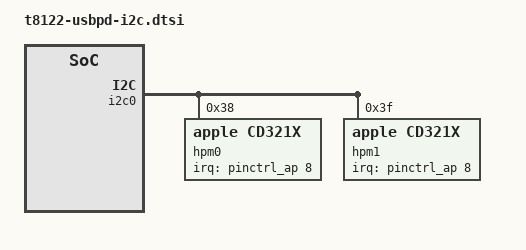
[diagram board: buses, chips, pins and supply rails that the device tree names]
// SPDX-License-Identifier: GPL-2.0+ OR MIT
/*
 * Apple M3 MacBook Pro and iMac (M3, 2023) I2C based USB PD controller nodes
 *
 * This file contains nodes for t8122 devices using I2C based cd321x USB Type-C
 * port controllers. The are used in the M3 MacBook Pro and iMacs but not in the
 * M3 Macbook Airs.
 *
 * target-type: J433, J434, J504
 *
 * Copyright The Asahi Linux Contributors
 */

&i2c0 {
	status = "okay";

	hpm0: usb-pd@38 {
		compatible = "apple,cd321x";
		reg = <0x38>;
		interrupt-parent = <&pinctrl_ap>;
		interrupts = <8 IRQ_TYPE_LEVEL_LOW>;
		interrupt-names = "irq";
	};

	hpm1: usb-pd@3f {
		compatible = "apple,cd321x";
		reg = <0x3f>;
		interrupt-parent = <&pinctrl_ap>;
		interrupts = <8 IRQ_TYPE_LEVEL_LOW>;
		interrupt-names = "irq";
	};
};
